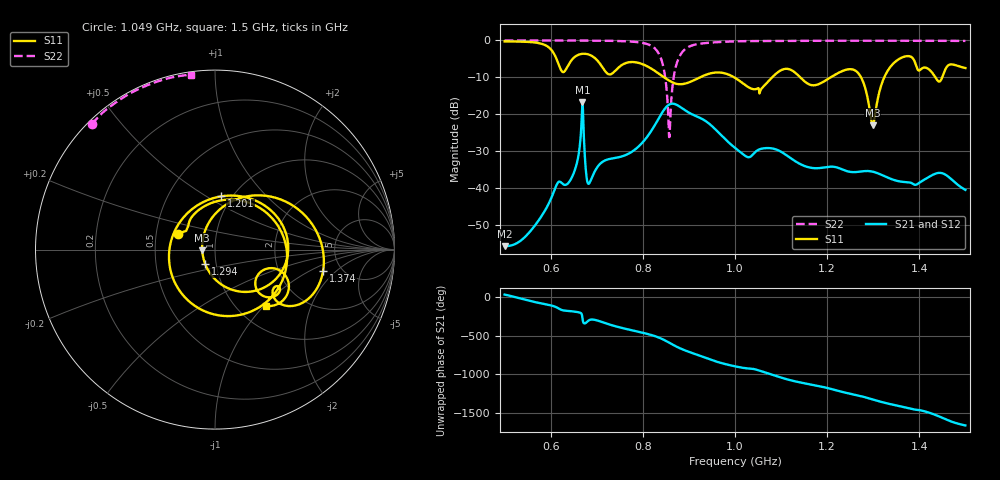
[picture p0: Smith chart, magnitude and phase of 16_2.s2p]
! TOUCHSTONE file generated by CST MICROWAVE STUDIO
! Date and time: Thu Feb 11 19:32:53 2021
! Project name: Scenario_1_Planar_Body_Tissue_Out_of_Line.cst
! Parameters = {L_HA=400; Ltissue=1000; MT=2.54; Rad_Dielectric=30; Rad_Lower=7.3; Rad_Upper=30; Wtissue=1000; a_HA=580; a_WG=246; b_HA=500; b_WG=121; c_HA=0; c_WG=187; d_feed=85; dx1=346; dy1=-86.5; h_feed=15; h_lower=18; h_upper=40; hfat=3; hgap=25; hmuscle=50; hskin=1.5}
! Header version: 2018
! Port assignment regex: !\s*Touchstone port\s*([0-9]+)\s*=\s*(CST MWS port|CST DS port)\s*([0-9]+|Zmin|Zmax)\s*\(\"(.*)\"\)(\s*mode\s*([0-9]+))?.*
! Touchstone port assignment:
! Touchstone port 1 = CST MWS port 1 ("")
! Touchstone port 2 = CST MWS port 2 ("")
# GHz S DB R 50
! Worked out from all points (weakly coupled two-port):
!   1003 points, 500 MHz to 1.5 GHz, reference 50 ohm
!   highest |S21| = -16.63 dB at 669 MHz (marker M1); lowest = -55.7 dB at 501 MHz (marker M2)
!   lowest |S11| = -22.9 dB at 1.299 GHz (marker M3), VSWR 1.15, Z = 43.3 - j0.263 ohm
!   |S11| at or under -10 dB: 846.2 MHz to 923.6 MHz (77.43 MHz wide, 8.75 % of centre); 998.4 MHz to 1.081 GHz (82.17 MHz wide, 7.91 % of centre); 1.142 GHz to 1.208 GHz (65.83 MHz wide, 5.6 % of centre) (the widest 3 of 5)
!   |S22| runs from -26.2 to 0.0 dB; largest |S21 - S12| = 0.03
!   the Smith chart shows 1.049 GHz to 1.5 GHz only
!   S11 on the Smith chart (normalised r, x): 1.049 GHz: 0.65, +0.12; 1.201 GHz: 0.89, +0.58; 1.294 GHz: 0.89, -0.15; 1.374 GHz: 3.62, -1.37; 1.5 GHz: 1.35, -1.03
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0.5  -0.27 -121.5  -55.68 32.0  -55.68 32.0  -0.01 151.1
0.501  -0.27 -121.9  -55.68 30.7  -55.68 30.7  -0.01 151.1
0.667  -3.65 156.1  -21.94 141.0  -21.71 134.5  -0.04 138.4
0.669  -3.62 153.0  -16.63 88.6  -18.08 80.3  -0.04 138.2
0.684  -3.88 125.6  -38.61 61.6  -38.53 61.8  -0.05 136.6
0.716  -7.94 25.5  -32.59 26.6  -32.59 26.6  -0.09 132.8
0.74  -8.23 -96.5  -31.81 -18.1  -31.81 -18.1  -0.14 129.2
0.772  -5.87 167.1  -30.45 -65.5  -30.45 -65.5  -0.29 122.5
0.834  -8.93 26.6  -21.20 -163.9  -21.20 -163.9  -3.44 83.1
0.858  -10.93 -39.0  -17.30 125.1  -17.30 125.1  -26.05 -70.7
0.888  -11.78 -131.8  -18.61 36.6  -18.61 36.6  -2.80 178.4
0.939  -9.20 82.0  -22.06 -75.3  -22.06 -75.3  -0.68 151.3
1  -10.12 -64.5  -29.08 -178.3  -29.08 -178.3  -0.25 140.3
1.049  -12.98 157.4  -29.72 133.4  -29.72 133.4  -0.17 134.4
1.103  -7.88 -5.1  -30.36 30.4  -30.36 30.4  -0.12 129.4
1.167  -12.11 162.6  -34.51 -57.0  -34.51 -57.0  -0.10 124.2
1.201  -10.50 83.6  -34.23 -100.2  -34.23 -100.2  -0.09 121.6
1.294  -20.19 -123.5  -35.41 120.6  -35.41 120.6  -0.08 114.5
1.299  -22.93 -177.6  -35.52 111.7  -35.52 111.7  -0.08 114.2
1.334  -7.71 46.8  -37.26 55.7  -37.26 55.7  -0.08 111.5
1.374  -4.24 -11.1  -38.37 3.5  -38.37 3.5  -0.09 108.4
1.5  -7.47 -47.8  -40.45 135.2  -40.45 135.2  -0.14 98.0
